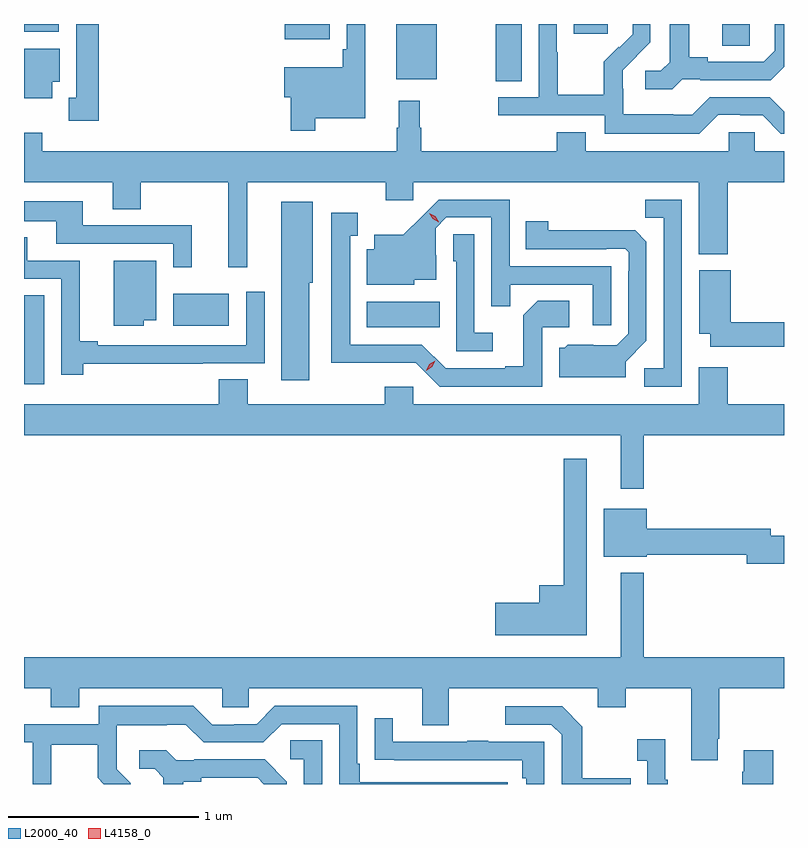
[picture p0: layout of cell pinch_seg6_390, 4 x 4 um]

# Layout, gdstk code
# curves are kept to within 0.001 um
import gdstk
lib = gdstk.Library(unit=1e-6, precision=1e-09)
def R(c, l, rs):  # rectangles x0, y0, x1, y1
    for r in rs: c.add(gdstk.rectangle(r[:2], r[2:], *l))
def P(c, l, *ps):  # polygons
    for p in ps: c.add(gdstk.Polygon(p, *l))
L2000_40 = (2000, 40)
L4158_0 = (4158, 0)

pinch_seg6_390 = lib.new_cell('pinch_seg6_390')
R(pinch_seg6_390, L2000_40, [(636.843,931.62,636.949,932.09), (638.648,931.922,639.032,932.056), (637.628,931.928,637.921,932.098), (639.325,933.217,639.463,933.517), (638.801,933.227,639.016,933.517), (640.517,933.403,640.662,933.517), (638.216,933.437,638.452,933.517), (639.737,933.465,639.916,933.517), (636.843,933.476,637.027,933.517)])
P(pinch_seg6_390, L2000_40, [(640.497,933.039),(640.613,933.039),(640.613,933.036),(640.731,933.036),(640.827,932.94),(640.843,932.94),(640.843,933.056),(640.767,933.132),(640.452,933.132),(640.359,933.039),(640.259,933.039),(640.259,933.043),(639.996,933.043),(639.996,933.177),(639.994,933.177),(639.994,933.274),(640.14,933.422),(640.14,933.517),(640.046,933.517),(640.046,933.464),(639.975,933.393),(639.972,933.396),(639.895,933.319),(639.895,933.145),(639.651,933.145),(639.651,933.368),(639.648,933.368),(639.648,933.517),(639.552,933.517),(639.552,933.132),(639.339,933.132),(639.339,933.036),(639.9,933.036),(639.9,932.939),(640.397,932.939)],
  [(638.377,933.02),(638.638,933.02),(638.638,933.517),(638.541,933.517),(638.541,933.385),(638.521,933.385),(638.521,933.289),(638.214,933.289),(638.214,933.131),(638.248,933.131),(638.248,932.955),(638.377,932.955)],
  [(637.237,933.517),(637.118,933.517),(637.118,933.129),(637.079,933.129),(637.079,933.009),(637.237,933.009)],
  [(640.308,933.225),(640.402,933.225),(640.402,933.222),(640.774,933.222),(640.843,933.291),(640.843,933.517),(640.793,933.517),(640.793,933.375),(640.736,933.318),(640.441,933.318),(640.441,933.341),(640.345,933.341),(640.345,933.517),(640.241,933.517),(640.241,933.317),(640.194,933.27),(640.113,933.27),(640.113,933.173),(640.256,933.173)],
  [(636.991,933.212),(637.03,933.212),(637.03,933.388),(636.843,933.388),(636.843,933.125),(636.991,933.125)],
  [(636.938,932.944),(636.843,932.944),(636.843,932.684),(637.31,932.684),(637.31,932.542),(637.458,932.542),(637.458,932.684),(637.919,932.684),(637.919,932.238),(638.018,932.238),(638.018,932.684),(638.746,932.684),(638.746,932.589),(638.892,932.589),(638.892,932.684),(640.394,932.684),(640.394,932.306),(640.547,932.306),(640.547,932.684),(640.843,932.684),(640.843,932.848),(640.689,932.848),(640.689,932.946),(640.551,932.946),(640.551,932.848),(639.799,932.848),(639.799,932.947),(639.647,932.947),(639.647,932.848),(638.933,932.848),(638.933,932.972),(638.926,932.972),(638.926,933.112),(638.816,933.112),(638.816,932.972),(638.805,932.972),(638.805,932.848),(636.938,932.848)],
  [(640.305,932.592),(640.114,932.592),(640.114,932.497),(640.209,932.497),(640.209,931.704),(640.107,931.704),(640.107,931.608),(640.305,931.608)],
  [(639.933,932.241),(639.399,932.241),(639.399,932.592),(639.026,932.592),(638.839,932.407),(638.687,932.407),(638.687,932.331),(638.648,932.331),(638.648,932.144),(638.898,932.144),(638.898,932.171),(639.013,932.171),(639.013,932.3),(639.009,932.3),(639.009,932.442),(639.066,932.499),(639.303,932.499),(639.303,932.032),(639.401,932.032),(639.401,932.145),(639.837,932.145),(639.837,931.932),(639.933,931.932)],
  [(637.727,932.457),(637.153,932.457),(637.153,932.584),(636.843,932.584),(636.843,932.48),(637.013,932.48),(637.013,932.361),(637.629,932.361),(637.629,932.238),(637.727,932.238)],
  [(638.344,932.154),(638.362,932.154),(638.362,932.581),(638.198,932.581),(638.198,931.641),(638.344,931.641)],
  [(639.57,931.92),(639.712,931.92),(639.712,932.06),(639.547,932.06),(639.471,931.984),(639.471,931.717),(639.377,931.717),(639.377,931.704),(639.063,931.704),(638.937,931.83),(638.56,931.83),(638.56,932.403),(638.599,932.403),(638.599,932.524),(638.459,932.524),(638.459,931.733),(638.904,931.734),(639.03,931.608),(639.57,931.608)],
  [(640.009,931.74),(640.119,931.85),(640.119,932.372),(640.06,932.431),(639.603,932.432),(639.603,932.479),(639.484,932.479),(639.484,932.331),(639.908,932.331),(639.908,932.334),(640.008,932.334),(640.026,932.316),(640.026,932.216),(640.023,932.216),(640.023,931.887),(639.963,931.827),(639.706,931.828),(639.69,931.812),(639.659,931.812),(639.659,931.658),(640.009,931.658)],
  [(639.31,931.891),(639.213,931.891),(639.213,932.411),(639.102,932.411),(639.102,932.268),(639.117,932.268),(639.117,931.794),(639.31,931.794)],
  [(637.154,931.73),(637.784,931.73),(637.784,931.731),(638.109,931.731),(638.109,932.107),(638.013,932.107),(638.013,931.827),(637.231,931.827),(637.231,931.847),(637.136,931.847),(637.136,932.271),(636.859,932.271),(636.859,932.395),(636.843,932.395),(636.843,932.175),(637.038,932.175),(637.038,931.671),(637.154,931.671)],
  [(637.474,931.958),(637.54,931.958),(637.54,932.272),(637.316,932.272),(637.316,931.928),(637.474,931.928)],
  [(640.843,931.946),(640.564,931.946),(640.564,932.221),(640.397,932.221),(640.397,931.886),(640.454,931.886),(640.454,931.818),(640.843,931.818)],
  [(640.105,931.352),(640.843,931.352),(640.843,931.516),(640.547,931.516),(640.547,931.711),(640.394,931.711),(640.394,931.516),(638.892,931.516),(638.892,931.609),(638.741,931.609),(638.741,931.516),(638.02,931.516),(638.02,931.646),(637.868,931.646),(637.868,931.516),(636.843,931.516),(636.843,931.352),(639.983,931.352),(639.983,931.071),(640.105,931.071)],
  [(639.805,931.228),(639.684,931.228),(639.684,930.562),(639.554,930.562),(639.554,930.47),(639.324,930.47),(639.324,930.299),(639.805,930.299)],
  [(640.843,930.824),(640.774,930.824),(640.774,930.86),(640.12,930.86),(640.12,930.967),(639.893,930.967),(639.893,930.713),(640.12,930.713),(640.12,930.724),(640.646,930.724),(640.646,930.677),(640.843,930.677)],
  [(640.495,929.755),(640.503,929.755),(640.503,930.02),(640.843,930.02),(640.843,930.184),(640.105,930.184),(640.105,930.628),(639.983,930.628),(639.983,930.184),(636.843,930.184),(636.843,930.02),(636.983,930.02),(636.983,929.921),(637.135,929.921),(637.135,930.02),(637.887,930.02),(637.887,929.922),(638.025,929.922),(638.025,930.02),(638.939,930.02),(638.939,929.826),(639.079,929.826),(639.079,930.02),(639.863,930.02),(639.863,929.921),(640.011,929.921),(640.011,930.02),(640.355,930.02),(640.355,929.643),(640.495,929.643)],
  [(636.987,929.724),(637.231,929.724),(637.231,929.549),(637.263,929.517),(637.405,929.517),(637.403,929.519),(637.404,929.52),(637.33,929.594),(637.33,929.691),(637.332,929.691),(637.332,929.825),(637.595,929.825),(637.595,929.829),(637.695,929.829),(637.788,929.736),(638.103,929.736),(638.199,929.832),(638.502,929.832),(638.502,929.517),(639.388,929.517),(639.388,929.526),(638.611,929.526),(638.611,929.623),(638.598,929.623),(638.598,929.928),(638.163,929.928),(638.067,929.832),(637.949,929.832),(637.949,929.829),(637.833,929.829),(637.733,929.929),(637.236,929.929),(637.236,929.832),(636.843,929.832),(636.843,929.736),(636.888,929.736),(636.888,929.517),(636.987,929.517)],
  [(640.037,929.547),(639.781,929.547),(639.781,929.819),(639.675,929.925),(639.375,929.925),(639.375,929.829),(639.618,929.829),(639.672,929.775),(639.672,929.517),(640.037,929.517)],
  [(639.582,929.739),(639.287,929.739),(639.287,929.744),(639.175,929.744),(639.175,929.739),(638.785,929.739),(638.785,929.863),(638.689,929.863),(638.689,929.644),(638.791,929.644),(638.791,929.643),(639.466,929.643),(639.466,929.546),(639.486,929.546),(639.486,929.517),(639.582,929.517)],
  [(640.231,929.539),(640.219,929.539),(640.219,929.752),(640.071,929.752),(640.071,929.639),(640.122,929.639),(640.122,929.517),(640.231,929.517)],
  [(638.412,929.747),(638.244,929.747),(638.244,929.646),(638.316,929.646),(638.316,929.517),(638.412,929.517)],
  [(640.786,929.695),(640.631,929.695),(640.631,929.582),(640.624,929.582),(640.624,929.517),(640.786,929.517)],
  [(637.681,929.528),(637.777,929.528),(637.777,929.55),(638.072,929.55),(638.105,929.517),(638.226,929.517),(638.226,929.53),(638.11,929.646),(637.738,929.646),(637.738,929.643),(637.644,929.643),(637.592,929.695),(637.449,929.695),(637.449,929.598),(637.53,929.598),(637.577,929.551),(637.577,929.517),(637.681,929.517)])
P(pinch_seg6_390, L4158_0, [(639.026,932.474),(638.994,932.491),(638.977,932.522),(638.977,932.522),(638.977,932.522),(639.008,932.505),(639.026,932.475),(639.026,932.474)],
  [(638.96,931.693),(638.96,931.693),(638.977,931.726),(639.008,931.745),(639.008,931.745),(639.008,931.744),(638.992,931.712),(638.96,931.693)])

lib.write_gds('pinch_seg6_390.gds')
